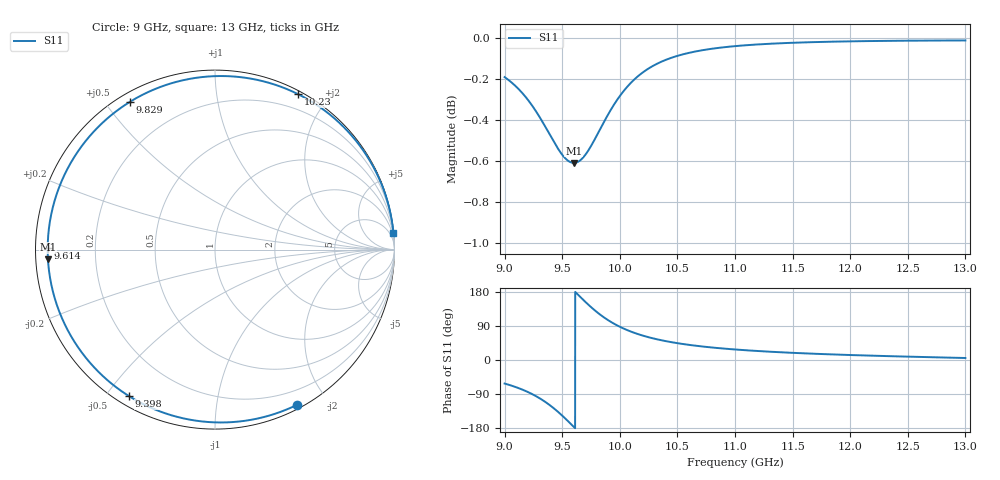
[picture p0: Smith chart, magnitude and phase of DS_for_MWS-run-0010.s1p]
! TOUCHSTONE file generated by CST DESIGN STUDIO
! Date and time: Wed Feb  5 13:31:24 2025
! Project name: C:\Work\MatlabApps\UnitCellOptimizationMatlab\CST\unitcell.cst
! Tree item: Tasks\Sweep1\SPara1\S-Parameters
! Header version: 2024
! Port assignment regex: !\s*Touchstone port\s*([0-9]+)\s*=\s*(CST MWS port|CST DES external port|CST DES block port)\s*(.+)\s* \(\"(.*)\"\)(\s*mode\s*([0-9]+))?.*
! Touchstone port assignment:
! Touchstone port 1 = CST DES external port 1 ("")
# GHz S MA R 50
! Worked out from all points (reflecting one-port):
!   4001 points, 9 GHz to 13 GHz, reference 50 ohm
!   lowest |S11| = -0.6 dB at 9.601 GHz (marker M1), VSWR 28.52, Z = 1.75 - j1.47 ohm
!   phase of S11 starts at -62 deg and turns -293 deg over the sweep
!   S11 on the Smith chart (normalised r, x): 9 GHz: 0.04, -1.66; 9.398 GHz: 0.04, -0.57; 9.614 GHz: 0.04, +0.01; 9.829 GHz: 0.03, +0.58; 10.23 GHz: 0.03, +1.67; 13 GHz: 0, +22
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9  0.9781 -62.1
9.052  0.9756 -66.9
9.123  0.9715 -74.4
9.245  0.9621 -90.9
9.327  0.9541 -105.3
9.398  0.9465 -120.5
9.449  0.9411 -133.0
9.5  0.9365 -146.7
9.553  0.9333 -162.1
9.601  0.9322 -176.6
9.614  0.9323 179.4
9.659  0.9337 165.7
9.706  0.9369 151.9
9.768  0.943 134.8
9.829  0.95 119.8
9.867  0.9544 111.5
9.908  0.9589 103.3
10  0.9678 87.7
10.109  0.9758 73.5
10.229  0.982 61.8
10.354  0.9864 52.6
10.5  0.9898 44.4
10.72  0.993 35.5
11  0.9952 27.8
11.5  0.9971 18.9
12  0.9979 13.1
12.5  0.9982 8.8
13  0.9984 5.3
